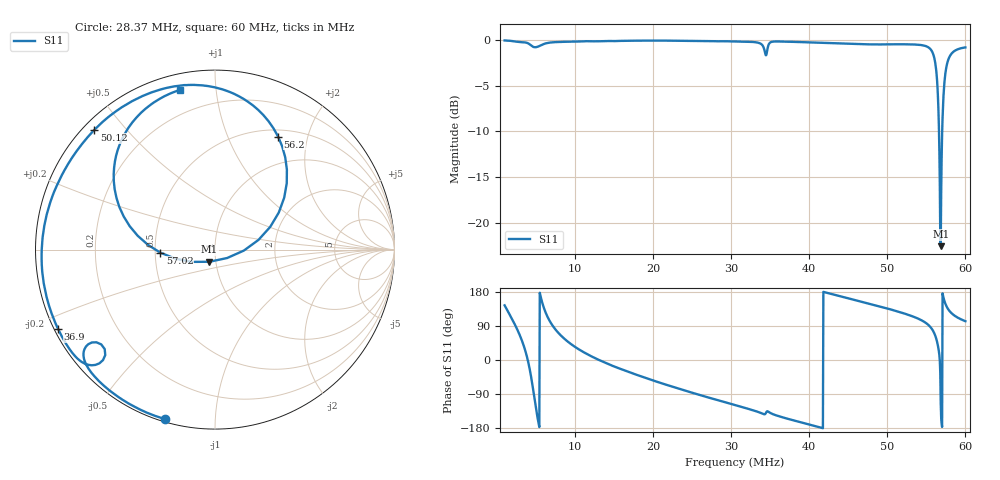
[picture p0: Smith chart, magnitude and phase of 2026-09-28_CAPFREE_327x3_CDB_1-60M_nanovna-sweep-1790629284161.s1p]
! NanoVNA Web complex sweep
! Processing: unaveraged complex samples; linear segment spacing; no smoothing
# Hz S RI R 50
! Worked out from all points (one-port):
!   1010 points, 1 MHz to 60 MHz, reference 50 ohm
!   lowest |S11| = -22.6 dB at 56.84 MHz (marker M1), VSWR 1.16, Z = 46.6 - j6.35 ohm
!   |S11| at or under -10 dB: 56.62 MHz to 57.03 MHz (410 kHz wide, 0.722 % of centre)
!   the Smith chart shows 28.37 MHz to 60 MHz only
!   S11 on the Smith chart (normalised r, x): 28.37 MHz: 0.01, -0.75; 36.9 MHz: 0.01, -0.24; 50.12 MHz: 0.03, +0.41; 56.2 MHz: 0.59, +1.54; 57.02 MHz: 0.53, -0.02; 60 MHz: 0.08, +0.80
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1000000  -0.807 0.5815
2637272  0.1746 0.9624
3280486  0.6557 0.7182
3806752  0.9425 0.2156
4274544  0.8102 -0.4817
4742336  -0.00268 -0.9152
5210128  -0.8076 -0.4373
5619446  -0.9109 0.2122
6087238  -0.6636 0.6846
6613504  -0.3151 0.9128
8426198  0.4844 0.8488
1.146685e7  0.9438 0.2827
1.579392e7  0.9093 -0.3894
2.316165e7  0.2597 -0.9572
2.836583e7  -0.2784 -0.9439
3.052937e7  -0.4771 -0.8596
3.690304e7  -0.8738 -0.4433
3.789709e7  -0.9111 -0.3535
4.526482e7  -0.9029 0.3048
5.011816e7  -0.6732 0.6663
5.263254e7  -0.4677 0.8237
5.532235e7  -0.0211 0.908
5.619946e7  0.3517 0.6294
5.649183e7  0.3856 0.2892
5.684267e7  -0.0308 -0.0678
5.701809e7  -0.3038 -0.0172
5.766131e7  -0.5574 0.4921
6.000027e7  -0.1946 0.89
